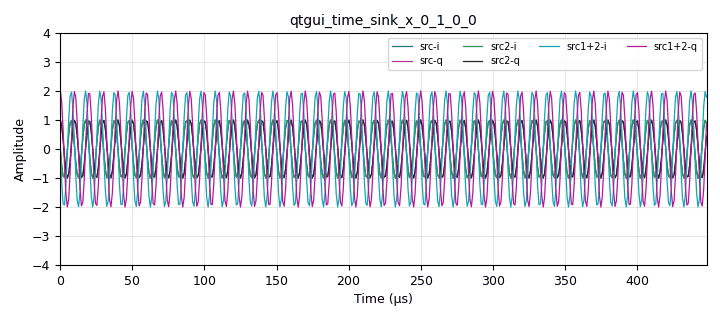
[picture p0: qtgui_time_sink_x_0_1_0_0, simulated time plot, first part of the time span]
options:
  parameters:
    author: btfz
    generate_options: qt_gui
    id: b210_double_send
    output_language: python
    title: b210_double_send
  states: {}

blocks:
- name: freq
  id: variable
  parameters:
    value: 2.0e9
  states: {}
- name: phase_shift
  id: variable_qtgui_range
  parameters:
    label: phase_shift
    start: '-360'
    step: '0.1'
    stop: '360'
    value: '0'
  states: {}
- name: samp_rate
  id: variable
  parameters:
    value: '1024000'
  states: {}
- name: uhd_gain
  id: variable_qtgui_range
  parameters:
    comment: |-
      2,0,1,2
      uhd gain：(0~70)
    label: GAIN
    rangeType: int
    start: '0'
    step: '1'
    stop: '70'
    value: '35'
  states: {}
- name: analog_sig_source_x_0_0_0_1_0_0
  id: analog_sig_source_x
  parameters:
    amp: '1'
    freq: '100000'
    offset: '0'
    phase: '0'
    samp_rate: samp_rate
    type: complex
    waveform: analog.GR_COS_WAVE
  states: {}
- name: blocks_add_xx_0_0_0_0_0
  id: blocks_add_xx
  parameters:
    type: complex
  states: {}
- name: blocks_phase_shift_0_0
  id: blocks_phase_shift
  parameters:
    is_radians: 'False'
    shift: phase_shift
  states: {}
- name: note_0
  id: note
  parameters:
    comment: |-
      - 不能 1 发 2 收，或者 2 发 1 收；只能 2 发或 2 收 或 2 发 2 收；
      - UHD 模块支持配置多个通道，对于发送，每个通道只能选 TX/RX 天线
                                                        对于接收，每个通道只能选择 RX2 或 TX/RX 天线（RX1 报错）
  states: {}
- name: qtgui_time_sink_x_0_1_0_0
  id: qtgui_time_sink_x
  parameters:
    label1: '"src-i"'
    label2: '"src-q"'
    label3: '"src2-i"'
    label4: '"src2-q"'
    label5: '"src1+2-i"'
    label6: '"src1+2-q"'
    nconnections: '3'
    size: '1024'
    srate: samp_rate
    type: complex
    ymax: '4'
    ymin: '-4'
  states: {}
- name: uhd_usrp_sink_0_0_1_0_0
  id: uhd_usrp_sink
  parameters:
    ant0: '"TX/RX"'
    ant1: '"TX/RX"'
    center_freq0: freq
    center_freq1: freq
    gain0: uhd_gain
    gain1: uhd_gain
    nchan: '2'
    samp_rate: samp_rate
    sync: pc_clock
    type: fc32
  states: {}
- name: virtual_sink_0
  id: virtual_sink
  parameters:
    stream_id: src
  states: {}
- name: virtual_sink_1
  id: virtual_sink
  parameters:
    stream_id: src2
  states: {}
- name: virtual_source_0
  id: virtual_source
  parameters:
    stream_id: src
  states: {}
- name: virtual_source_0_0
  id: virtual_source
  parameters:
    stream_id: src2
  states: {}
- name: virtual_source_0_0_0
  id: virtual_source
  parameters:
    stream_id: src2
  states: {}
- name: virtual_source_0_0_0_0
  id: virtual_source
  parameters:
    stream_id: src2
  states: {}
- name: virtual_source_0_1
  id: virtual_source
  parameters:
    stream_id: src
  states: {}
- name: virtual_source_0_2
  id: virtual_source
  parameters:
    stream_id: src
  states: {}

connections:
- [analog_sig_source_x_0_0_0_1_0_0, '0', blocks_phase_shift_0_0, '0']
- [analog_sig_source_x_0_0_0_1_0_0, '0', virtual_sink_0, '0']
- [blocks_add_xx_0_0_0_0_0, '0', qtgui_time_sink_x_0_1_0_0, '2']
- [blocks_phase_shift_0_0, '0', virtual_sink_1, '0']
- [virtual_source_0, '0', qtgui_time_sink_x_0_1_0_0, '0']
- [virtual_source_0_0, '0', uhd_usrp_sink_0_0_1_0_0, '1']
- [virtual_source_0_0_0, '0', qtgui_time_sink_x_0_1_0_0, '1']
- [virtual_source_0_0_0_0, '0', blocks_add_xx_0_0_0_0_0, '1']
- [virtual_source_0_1, '0', uhd_usrp_sink_0_0_1_0_0, '0']
- [virtual_source_0_2, '0', blocks_add_xx_0_0_0_0_0, '0']

metadata:
  file_format: 1
  grc_version: 3.10.9.2
